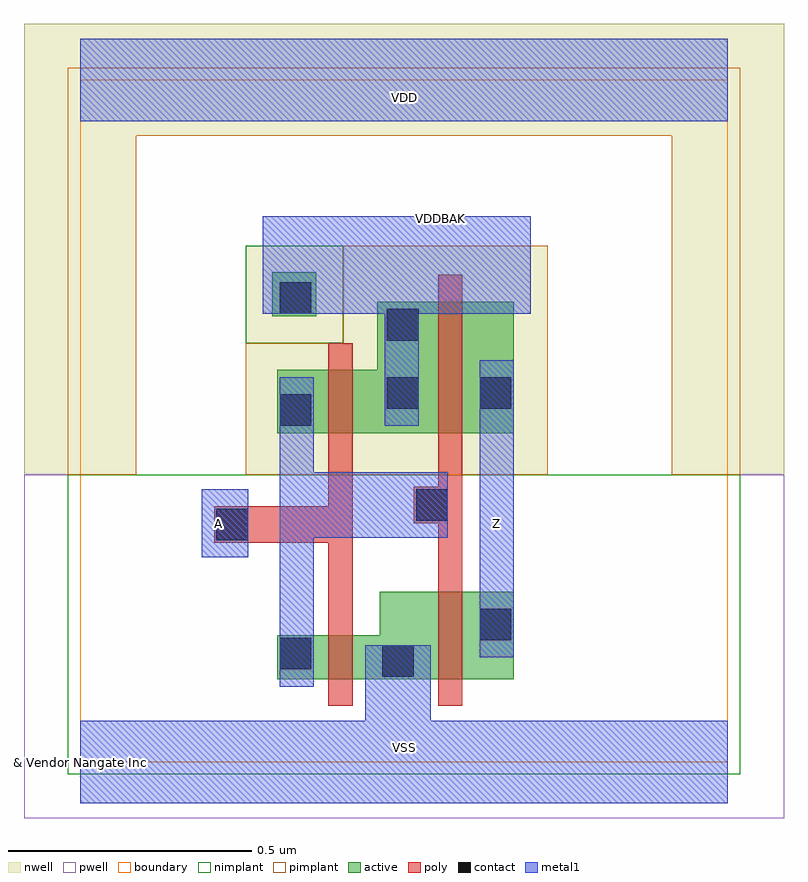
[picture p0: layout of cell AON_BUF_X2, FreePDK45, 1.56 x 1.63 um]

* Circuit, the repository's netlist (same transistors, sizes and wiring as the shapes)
* 
* ******************************************************************************
* *                                                                            *
* *                   Copyright (C) 2004-2011, Nangate Inc.                    *
* *                           All rights reserved.                             *
* *                                                                            *
* * Nangate and the Nangate logo are trademarks of Nangate Inc.                *
* *                                                                            *
* * All trademarks, logos, software marks, and trade names (collectively the   *
* * "Marks") in this program are proprietary to Nangate or other respective    *
* * owners that have granted Nangate the right and license to use such Marks.  *
* * You are not permitted to use the Marks without the prior written consent   *
* * of Nangate or such third party that may own the Marks.                     *
* *                                                                            *
* * This file has been provided pursuant to a License Agreement containing     *
* * restrictions on its use. This file contains valuable trade secrets and     *
* * proprietary information of Nangate Inc., and is protected by U.S. and      *
* * international laws and/or treaties.                                        *
* *                                                                            *
* * The copyright notice(s) in this file does not indicate actual or intended  *
* * publication of this file.                                                  *
* *                                                                            *
* *     NGLibraryCreator, v2010.08-HR32-SP3-2010-08-05 - build 1009061800      *
* *                                                                            *
* ******************************************************************************
* 
* 
* Running on server08.nangate.com for user Giancarlo Franciscatto (gfr).
* Local time is now Thu, 6 Jan 2011, 19:45:43.
* Main process id is 3320.
*
********************************************************************************
*                                                                              *
* Cellname:   AON_BUF_X2.                                                      *
*                                                                              *
* Technology: NCSU FreePDK 45nm.                                               *
* Format:     Cdl.                                                             *
*                                                                              *
* Written on server08.nangate.com for user Giancarlo Franciscatto (gfr)        *
* at 19:45:43 on Thu, 6 Jan 2011.                                              *
*                                                                              *
********************************************************************************
.SUBCKT AON_BUF_X2 A Z VDD VDDBAK VSS
*.PININFO A:I Z:O VDD:P VDDBAK:P VSS:G 
*.EQN Z=A
M_i_0 VSS A net_000 VSS NMOS_VTL W=0.090000U L=0.050000U
M_i_7 Z net_000 VSS VSS NMOS_VTL W=0.180000U L=0.050000U
M_i_14 VDDBAK A net_000 VDDBAK PMOS_VTL W=0.130000U L=0.050000U
M_i_21 Z net_000 VDDBAK VDDBAK PMOS_VTL W=0.270000U L=0.050000U
.ENDS 

********************************************************************************
*
* END
*
********************************************************************************

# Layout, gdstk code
import gdstk
lib = gdstk.Library(unit=1e-6, precision=1e-10)
def R(c, l, rs):  # rectangles x0, y0, x1, y1
    for r in rs: c.add(gdstk.rectangle(r[:2], r[2:], *l))
def P(c, l, *ps):  # polygons
    for p in ps: c.add(gdstk.Polygon(p, *l))
active = (1, 0)
pwell = (2, 0)
nwell = (3, 0)
nimplant = (4, 0)
pimplant = (5, 0)
poly = (9, 0)
contact = (10, 0)
metal1 = (11, 0)
boundary = (235, 0)

aon_buf_x2 = lib.new_cell('AON_BUF_X2')
R(aon_buf_x2, active, [(0.395,0.915,0.485,1.005)])
P(aon_buf_x2, active, [(0.405,0.17),(0.89,0.17),(0.89,0.35),(0.615,0.35),(0.615,0.26),(0.405,0.26)],
  [(0.405,0.675),(0.89,0.675),(0.89,0.945),(0.61,0.945),(0.61,0.805),(0.405,0.805)])
R(aon_buf_x2, pwell, [(-0.115,-0.115,1.445,0.59)])
R(aon_buf_x2, nwell, [(0.34,0.59,0.96,1.06)])
P(aon_buf_x2, nwell, [(-0.115,0.59),(0.115,0.59),(0.115,1.285),(1.215,1.285),(1.215,0.59),(1.445,0.59),(1.445,1.515),(-0.115,1.515)])
R(aon_buf_x2, nimplant, [(-0.025,-0.025,1.355,0.59), (0.34,0.86,0.54,1.06)])
P(aon_buf_x2, pimplant, [(0.34,0.59),(0.96,0.59),(0.96,1.06),(0.54,1.06),(0.54,0.86),(0.34,0.86)],
  [(-0.025,0.59),(0.115,0.59),(0.115,1.285),(1.215,1.285),(1.215,0.59),(1.355,0.59),(1.355,1.425),(-0.025,1.425)])
P(aon_buf_x2, poly, [(0.275,0.45),(0.51,0.45),(0.51,0.115),(0.56,0.115),(0.56,0.86),(0.51,0.86),(0.51,0.525),(0.275,0.525)],
  [(0.685,0.49),(0.735,0.49),(0.735,0.115),(0.785,0.115),(0.785,1),(0.735,1),(0.735,0.565),(0.685,0.565)])
R(aon_buf_x2, contact, [(0.62,0.175,0.685,0.24), (0.41,0.19,0.475,0.255), (0.82,0.25,0.885,0.315), (0.28,0.455,0.345,0.52), (0.69,0.495,0.755,0.56), (0.41,0.69,0.475,0.755), (0.63,0.725,0.695,0.79), (0.82,0.725,0.885,0.79), (0.63,0.865,0.695,0.93), (0.41,0.92,0.475,0.985)])
R(aon_buf_x2, metal1, [(0.82,0.215,0.89,0.825), (0.25,0.42,0.345,0.56), (0,1.315,1.33,1.485)])
P(aon_buf_x2, metal1, [(0,-0.085),(1.33,-0.085),(1.33,0.085),(0.72,0.085),(0.72,0.24),(0.585,0.24),(0.585,0.085),(0,0.085)],
  [(0.41,0.155),(0.48,0.155),(0.48,0.46),(0.755,0.46),(0.755,0.595),(0.48,0.595),(0.48,0.79),(0.41,0.79)],
  [(0.375,0.92),(0.625,0.92),(0.625,0.69),(0.695,0.69),(0.695,0.92),(0.925,0.92),(0.925,1.12),(0.375,1.12)])
R(aon_buf_x2, boundary, [(0,0,1.33,1.4)])
aon_buf_x2.add(gdstk.Label('A', (0.285,0.49), layer=11, texttype=0))
aon_buf_x2.add(gdstk.Label('Z', (0.855,0.49), layer=11, texttype=0))
aon_buf_x2.add(gdstk.Label('VDDBAK', (0.74,1.115), layer=11, texttype=0))
aon_buf_x2.add(gdstk.Label('VSS', (0.665,0.03), layer=11, texttype=0))
aon_buf_x2.add(gdstk.Label('VDD', (0.665,1.365), layer=11, texttype=0))
aon_buf_x2.add(gdstk.Label('& Vendor Nangate Inc', (0,0), layer=63, texttype=63))
aon_buf_x2.add(gdstk.Label('& Product Open Cell Library', (0,0), layer=63, texttype=63))
aon_buf_x2.add(gdstk.Label('& Version 2010_12', (0,0), layer=63, texttype=63))
aon_buf_x2.add(gdstk.Label('& Instance AON_BUF_X2', (0,0), layer=63, texttype=63))

lib.write_gds('AON_BUF_X2.gds')
